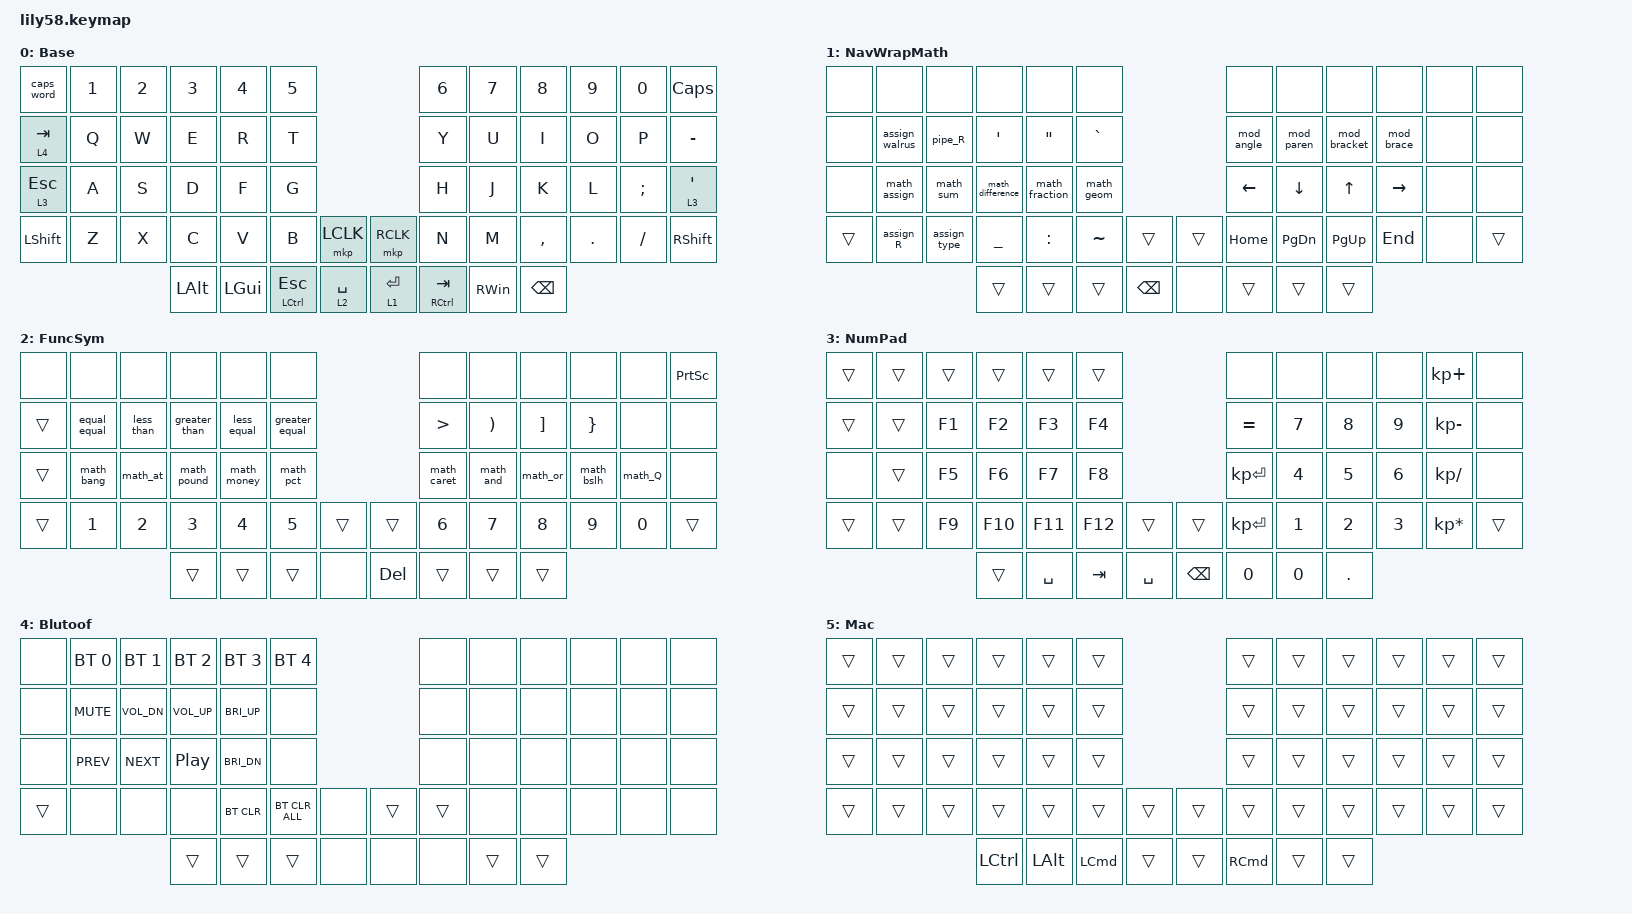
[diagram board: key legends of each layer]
/*
 * Copyright (c) 2020 The ZMK Contributors
 *
 * SPDX-License-Identifier: MIT
 */

#include <behaviors.dtsi>
#include <dt-bindings/zmk/bt.h>
#include <dt-bindings/zmk/keys.h>
#include <dt-bindings/zmk/pointing.h>

/ {
    behaviors {
        lt_ret: hold_tap_enter {
            compatible = "zmk,behavior-hold-tap";
            #binding-cells = <2>;
            tapping-term-ms = <300>;
            flavor = "hold-preferred";
            bindings = <&mo>, <&kp>;
        };

        lt_spc: hold_tap_spc {
            compatible = "zmk,behavior-hold-tap";
            #binding-cells = <2>;
            tapping-term-ms = <200>;
            flavor = "tap-preferred";
            bindings = <&mo>, <&kp>;
        };

        ht_ctrl: ht_ctrl {
            compatible = "zmk,behavior-hold-tap";
            label = "HT_CTRL";
            bindings = <&kp>, <&kp>;

            #binding-cells = <2>;
            flavor = "tap-preferred";
            tapping-term-ms = <175>;
        };

        mod_paren: mod_paren {
            compatible = "zmk,behavior-mod-morph";
            #binding-cells = <0>;
            bindings = <&kp LEFT_PARENTHESIS>, <&kp RIGHT_PARENTHESIS>;

            mods = <(MOD_LSFT|MOD_RSFT)>;
        };

        mod_angle: mod_angle {
            compatible = "zmk,behavior-mod-morph";
            #binding-cells = <0>;
            bindings = <&kp LESS_THAN>, <&kp GREATER_THAN>;

            mods = <(MOD_LSFT|MOD_RSFT)>;
        };

        mod_bracket: mod_bracket {
            compatible = "zmk,behavior-mod-morph";
            #binding-cells = <0>;
            bindings = <&kp LBKT>, <&kp RBKT>;

            mods = <(MOD_LSFT|MOD_RSFT)>;
        };

        mod_brace: mod_brace {
            compatible = "zmk,behavior-mod-morph";
            #binding-cells = <0>;
            bindings = <&kp LEFT_BRACE>, <&kp RIGHT_BRACE>;

            mods = <(MOD_LSFT|MOD_RSFT)>;
        };

        math_assign: math_assign {
            compatible = "zmk,behavior-mod-morph";
            #binding-cells = <0>;
            bindings = <&kp EQUAL>, <&mathspace EQUAL>;

            mods = <(MOD_LSFT|MOD_RSFT)>;
        };

        math_sum: math_sum {
            compatible = "zmk,behavior-mod-morph";
            #binding-cells = <0>;
            bindings = <&kp LS(EQUAL)>, <&mathspace LS(EQUAL)>;

            mods = <(MOD_LSFT|MOD_RSFT)>;
        };

        math_difference: math_difference {
            compatible = "zmk,behavior-mod-morph";
            #binding-cells = <0>;
            bindings = <&kp MINUS>, <&mathspace MINUS>;

            mods = <(MOD_LSFT|MOD_RSFT)>;
        };

        math_geom: math_geom {
            compatible = "zmk,behavior-mod-morph";
            #binding-cells = <0>;
            bindings = <&kp LS(N8)>, <&mathspace LS(N8)>;

            mods = <(MOD_LSFT|MOD_RSFT)>;
        };

        math_fraction: math_fraction {
            compatible = "zmk,behavior-mod-morph";
            #binding-cells = <0>;
            bindings = <&kp FSLH>, <&mathspace FSLH>;

            mods = <(MOD_LSFT|MOD_RSFT)>;
        };

        math_bang: math_bang {
            compatible = "zmk,behavior-mod-morph";
            #binding-cells = <0>;
            bindings = <&kp LS(N1)>, <&mathspace LS(N1)>;

            mods = <(MOD_LSFT|MOD_RSFT)>;
        };

        math_at: math_at {
            compatible = "zmk,behavior-mod-morph";
            #binding-cells = <0>;
            bindings = <&kp LS(N2)>, <&mathspace LS(N2)>;

            mods = <(MOD_LSFT|MOD_RSFT)>;
        };

        math_pound: math_pound {
            compatible = "zmk,behavior-mod-morph";
            #binding-cells = <0>;
            bindings = <&kp LS(N3)>, <&mathspace LS(N3)>;

            mods = <(MOD_LSFT|MOD_RSFT)>;
        };

        math_money: math_money {
            compatible = "zmk,behavior-mod-morph";
            #binding-cells = <0>;
            bindings = <&kp LS(N4)>, <&mathspace LS(N4)>;

            mods = <(MOD_LSFT|MOD_RSFT)>;
        };

        math_pct: math_pct {
            compatible = "zmk,behavior-mod-morph";
            #binding-cells = <0>;
            bindings = <&kp LS(N5)>, <&mathspace LS(N5)>;

            mods = <(MOD_LSFT|MOD_RSFT)>;
        };

        math_caret: math_caret {
            compatible = "zmk,behavior-mod-morph";
            #binding-cells = <0>;
            bindings = <&kp LS(N6)>, <&mathspace LS(N6)>;

            mods = <(MOD_LSFT|MOD_RSFT)>;
        };

        math_and: math_and {
            compatible = "zmk,behavior-mod-morph";
            #binding-cells = <0>;
            bindings = <&kp LS(N7)>, <&mathspace LS(N7)>;

            mods = <(MOD_LSFT|MOD_RSFT)>;
        };

        math_or: math_or {
            compatible = "zmk,behavior-mod-morph";
            #binding-cells = <0>;
            bindings = <&kp LS(BSLH)>, <&mathspace LS(BSLH)>;

            mods = <(MOD_LSFT|MOD_RSFT)>;
        };

        math_bslh: math_bslh {
            compatible = "zmk,behavior-mod-morph";
            #binding-cells = <0>;
            bindings = <&kp BSLH>, <&mathspace BSLH>;

            mods = <(MOD_LSFT|MOD_RSFT)>;
        };

        math_Q: math_Q {
            compatible = "zmk,behavior-mod-morph";
            #binding-cells = <0>;
            bindings = <&kp QUESTION>, <&mathspace QUESTION>;

            mods = <(MOD_LSFT|MOD_RSFT)>;
        };
    };

    combos {
        compatible = "zmk,combos";

        toggle_mac {
            bindings = <&to 5>;
            key-positions = <0 11>;
            layers = <0>;
        };

        toggle_windows {
            bindings = <&to 0>;
            key-positions = <0 11>;
            layers = <5>;
        };

        capsword {
            bindings = <&caps_word>;
            key-positions = <49 36>;
            layers = <0 5>;
        };

        to_numpad {
            bindings = <&to 3>;
            key-positions = <35 24>;
            layers = <0>;
        };

        from_numpad {
            bindings = <&to 0>;
            key-positions = <35 24>;
            layers = <3>;
        };
    };

    macros {
        period_and_space: period_and_space {
            compatible = "zmk,behavior-macro";
            #binding-cells = <0>;
            bindings = <&kp DOT &kp SPACE>;
            label = "PERIOD_AND_SPACE";
        };

        assign_py: assign_py {
            compatible = "zmk,behavior-macro";
            #binding-cells = <0>;
            bindings = <&kp SPACE &kp EQUAL &kp SPACE>;
            label = "ASSIGN_PY";
        };

        assign_type: assign_type {
            compatible = "zmk,behavior-macro";
            #binding-cells = <0>;
            bindings = <&kp SPACE &kp MINUS &kp GREATER_THAN &kp SPACE>;
            label = "ASSIGN_TYPE";
        };

        assign_R: assign_R {
            compatible = "zmk,behavior-macro";
            #binding-cells = <0>;
            bindings = <&kp SPACE &kp LESS_THAN &kp MINUS &kp SPACE>;
            label = "ASSIGN_R";
        };

        pipe_R: pipe_R {
            compatible = "zmk,behavior-macro";
            #binding-cells = <0>;
            bindings = <&kp SPACE &kp PIPE &kp GREATER_THAN &kp SPACE>;
            label = "PIPE_R";
        };

        assign_walrus: assign_walrus {
            compatible = "zmk,behavior-macro";
            #binding-cells = <0>;
            bindings = <&kp SPACE &kp COLON &kp EQUAL &kp SPACE>;
            label = "ASSIGN_WALRUS";
        };

        less_equal: less_equal {
            compatible = "zmk,behavior-macro";
            #binding-cells = <0>;
            bindings = <&kp SPACE &kp LESS_THAN &kp EQUAL &kp SPACE>;
            label = "LESS_EQUAL";
        };

        // surround operators in spaces

        mathspace: mathspace {
            label = "&MATHSPACE";
            compatible = "zmk,behavior-macro-one-param";
            #binding-cells = <1>;
            tap-ms = <30>;
            wait-ms = <15>;
            bindings = <&kp SPACE &macro_param_1to1 &kp MACRO_PLACEHOLDER &kp SPACE>;
        };

        greater_equal: greater_equal {
            compatible = "zmk,behavior-macro";
            #binding-cells = <0>;
            bindings = <&kp SPACE &kp GREATER_THAN &kp EQUAL &kp SPACE>;
            label = "GREATER_EQUAL";
        };

        greater_than: greater_than {
            label = "&GREATER_THAN";
            compatible = "zmk,behavior-macro";
            #binding-cells = <0>;
            bindings = <&kp SPACE &kp LS(DOT) &kp SPACE>;
        };

        less_than: less_than {
            label = "&LESS_THAN";
            compatible = "zmk,behavior-macro";
            #binding-cells = <0>;
            bindings = <&kp SPACE &kp LS(COMMA) &kp SPACE>;
        };

        right_arrow: right_arrow {
            compatible = "zmk,behavior-macro";
            #binding-cells = <0>;
            bindings = <&kp SPACE &kp MINUS &kp GREATER_THAN &kp SPACE>;
            label = "RIGHT_ARROW";
        };

        equal_equal: equal_equal {
            compatible = "zmk,behavior-macro";
            #binding-cells = <0>;
            bindings = <&kp SPACE &kp EQUAL &kp EQUAL &kp SPACE>;
            label = "EQUAL_EQUAL";
        };
    };

    keymap {
        compatible = "zmk,keymap";

        default_layer {
            display-name = "Base";
            bindings = <
&caps_word        &kp N1  &kp N2  &kp N3    &kp N4    &kp N5                                                  &kp N6              &kp N7    &kp N8     &kp N9   &kp N0    &kp CAPS
&lt 4 TAB         &kp Q   &kp W   &kp E     &kp R     &kp T                                                   &kp Y               &kp U     &kp I      &kp O    &kp P     &kp MINUS
&lt_ret 3 ESCAPE  &kp A   &kp S   &kp D     &kp F     &kp G                                                   &kp H               &kp J     &kp K      &kp L    &kp SEMI  &lt 3 SINGLE_QUOTE
&kp LEFT_SHIFT    &kp Z   &kp X   &kp C     &kp V     &kp B               &mkp LCLK          &mkp RCLK        &kp N               &kp M     &kp COMMA  &kp DOT  &kp FSLH  &kp RSHFT
                                  &kp LALT  &kp LGUI  &ht_ctrl LCTRL ESC  &lt_spc 2 SPACE    &lt_ret 1 ENTER  &ht_ctrl RCTRL TAB  &kp RWIN  &kp BSPC
            >;
        };

        raise_layer {
            display-name = "NavWrapMath";
            bindings = <
&none   &none           &none         &none             &none              &none                           &none       &none       &none         &none       &none  &none
&none   &assign_walrus  &pipe_R       &kp SQT           &kp DOUBLE_QUOTES  &kp GRAVE                       &mod_angle  &mod_paren  &mod_bracket  &mod_brace  &none  &none
&none   &math_assign    &math_sum     &math_difference  &math_fraction     &math_geom                      &kp LEFT    &kp DOWN    &kp UP        &kp RIGHT   &none  &none
&trans  &assign_R       &assign_type  &kp UNDER         &kp COLON          &kp TILDE   &trans      &trans  &kp HOME    &kp PG_DN   &kp PG_UP     &kp END     &none  &trans
                                      &trans            &trans             &trans      &kp BSPC    &none   &trans      &trans      &trans
            >;
        };

        lower_layer {
            display-name = "FuncSym";
            bindings = <
&none   &none         &none       &none          &none        &none                              &none             &none                  &none              &none            &none    &kp PRINTSCREEN
&trans  &equal_equal  &less_than  &greater_than  &less_equal  &greater_equal                     &kp GREATER_THAN  &kp RIGHT_PARENTHESIS  &kp RIGHT_BRACKET  &kp RIGHT_BRACE  &none    &none
&trans  &math_bang    &math_at    &math_pound    &math_money  &math_pct                          &math_caret       &math_and              &math_or           &math_bslh       &math_Q  &none
&trans  &kp N1        &kp N2      &kp N3         &kp N4       &kp N5          &trans    &trans   &kp N6            &kp N7                 &kp N8             &kp N9           &kp N0   &trans
                                  &trans         &trans       &trans          &none     &kp DEL  &trans            &trans                 &trans
            >;
        };

        NumFunc {
            bindings = <
&trans  &trans  &trans  &trans   &trans     &trans                               &none         &none   &none       &none   &kp KP_PLUS      &none
&trans  &trans  &kp F1  &kp F2   &kp F3     &kp F4                               &kp EQUAL     &kp N7  &kp N8      &kp N9  &kp KP_MINUS     &none
&none   &trans  &kp F5  &kp F6   &kp F7     &kp F8                               &kp KP_ENTER  &kp N4  &kp N5      &kp N6  &kp KP_SLASH     &none
&trans  &trans  &kp F9  &kp F10  &kp F11    &kp F12  &trans       &trans         &kp KP_ENTER  &kp N1  &kp N2      &kp N3  &kp KP_MULTIPLY  &trans
                        &trans   &kp SPACE  &kp TAB  &kp SPACE    &kp BACKSPACE  &kp N0        &kp N0  &kp PERIOD
            >;

            label = "NumPad";
        };

        magic {
            display-name = "Blutoof";
            bindings = <
&none   &bt BT_SEL 0  &bt BT_SEL 1  &bt BT_SEL 2      &bt BT_SEL 3  &bt BT_SEL 4                     &none   &none   &none   &none  &none  &none
&none   &kp C_MUTE    &kp C_VOL_DN  &kp C_VOLUME_UP   &kp C_BRI_UP  &none                            &none   &none   &none   &none  &none  &none
&none   &kp C_PREV    &kp C_NEXT    &kp C_PLAY_PAUSE  &kp C_BRI_DN  &none                            &none   &none   &none   &none  &none  &none
&trans  &none         &none         &none             &bt BT_CLR    &bt BT_CLR_ALL  &none    &trans  &trans  &none   &none   &none  &none  &none
                                    &trans            &trans        &trans          &none    &none   &none   &trans  &trans
            >;
        };

        os_toggle {
            display-name = "Mac";
            bindings = <
&trans  &trans  &trans  &trans     &trans    &trans                              &trans             &trans  &trans  &trans  &trans  &trans
&trans  &trans  &trans  &trans     &trans    &trans                              &trans             &trans  &trans  &trans  &trans  &trans
&trans  &trans  &trans  &trans     &trans    &trans                              &trans             &trans  &trans  &trans  &trans  &trans
&trans  &trans  &trans  &trans     &trans    &trans            &trans    &trans  &trans             &trans  &trans  &trans  &trans  &trans
                        &kp LCTRL  &kp LALT  &kp LEFT_COMMAND  &trans    &trans  &kp RIGHT_COMMAND  &trans  &trans
            >;
        };
    };
};
